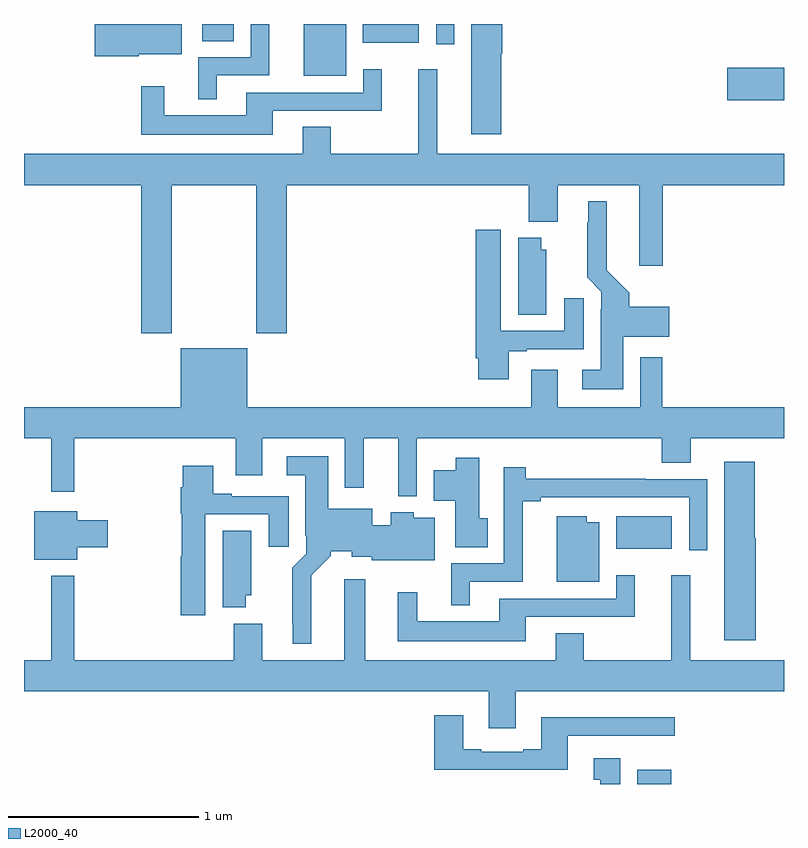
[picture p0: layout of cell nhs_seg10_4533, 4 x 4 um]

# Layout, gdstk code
import gdstk
lib = gdstk.Library(unit=1e-6, precision=1e-09)
def R(c, l, rs):  # rectangles x0, y0, x1, y1
    for r in rs: c.add(gdstk.rectangle(r[:2], r[2:], *l))
def P(c, l, *ps):  # polygons
    for p in ps: c.add(gdstk.Polygon(p, *l))
L2000_40 = (2000, 40)

nhs_seg10_4533 = lib.new_cell('nhs_seg10_4533')
R(nhs_seg10_4533, L2000_40, [(372.227,1294.5,372.406,1294.576), (372.116,1295.738,372.409,1295.908), (372.702,1298.099,373,1298.27), (370.472,1298.228,370.696,1298.5), (371.169,1298.394,371.265,1298.5), (370.784,1298.402,371.077,1298.5), (369.938,1298.41,370.105,1298.5)])
P(nhs_seg10_4533, L2000_40, [(369.603,1298.342),(369.829,1298.342),(369.829,1298.5),(369.372,1298.5),(369.372,1298.33),(369.603,1298.33)],
  [(371.513,1298.343),(371.518,1298.343),(371.518,1298.5),(371.354,1298.5),(371.354,1297.92),(371.513,1297.92)],
  [(370.015,1298.229),(370.292,1298.229),(370.292,1298.5),(370.194,1298.5),(370.194,1298.325),(369.917,1298.325),(369.917,1298.105),(370.015,1298.105)],
  [(370.309,1298.043),(370.883,1298.043),(370.883,1298.263),(370.785,1298.263),(370.785,1298.139),(370.169,1298.139),(370.169,1298.02),(369.739,1298.02),(369.739,1298.173),(369.618,1298.173),(369.618,1297.916),(370.309,1297.916)],
  [(369.777,1297.652),(370.222,1297.652),(370.222,1296.873),(370.382,1296.873),(370.382,1297.652),(371.657,1297.652),(371.657,1297.46),(371.809,1297.46),(371.809,1297.652),(372.239,1297.652),(372.239,1297.227),(372.362,1297.227),(372.362,1297.652),(373,1297.652),(373,1297.816),(371.174,1297.816),(371.174,1298.263),(371.075,1298.263),(371.075,1297.816),(370.614,1297.816),(370.614,1297.958),(370.466,1297.958),(370.466,1297.816),(369,1297.816),(369,1297.652),(369.617,1297.652),(369.617,1296.873),(369.777,1296.873)],
  [(372.154,1296.854),(372.397,1296.854),(372.397,1297.012),(372.185,1297.012),(372.185,1297.086),(372.067,1297.204),(372.067,1297.567),(371.969,1297.567),(371.969,1297.457),(371.965,1297.457),(371.965,1297.166),(372.039,1297.092),(372.039,1296.998),(372.035,1296.998),(372.035,1296.679),(371.937,1296.679),(371.937,1296.578),(372.154,1296.578)],
  [(371.551,1296.777),(371.647,1296.777),(371.647,1296.789),(371.947,1296.789),(371.947,1297.057),(371.843,1297.057),(371.843,1296.885),(371.509,1296.885),(371.509,1297.417),(371.378,1297.417),(371.378,1296.742),(371.39,1296.742),(371.39,1296.63),(371.551,1296.63)],
  [(371.749,1297.311),(371.722,1297.311),(371.722,1297.375),(371.6,1297.375),(371.6,1296.97),(371.749,1296.97)],
  [(371.067,1296.32),(372.356,1296.32),(372.356,1296.19),(372.508,1296.19),(372.508,1296.32),(373,1296.32),(373,1296.484),(372.359,1296.484),(372.359,1296.745),(372.243,1296.745),(372.243,1296.484),(371.809,1296.484),(371.809,1296.679),(371.669,1296.679),(371.669,1296.484),(370.174,1296.484),(370.174,1296.793),(369.824,1296.793),(369.824,1296.484),(369,1296.484),(369,1296.32),(369.143,1296.32),(369.143,1296.039),(369.265,1296.039),(369.265,1296.32),(370.115,1296.32),(370.115,1296.126),(370.255,1296.126),(370.255,1296.32),(370.689,1296.32),(370.689,1296.06),(370.787,1296.06),(370.787,1296.32),(370.97,1296.32),(370.97,1296.014),(371.067,1296.014)],
  [(370.513,1295.6),(370.614,1295.702),(370.614,1295.726),(370.724,1295.726),(370.724,1295.696),(370.83,1295.696),(370.83,1295.678),(371.161,1295.678),(371.161,1295.902),(371.052,1295.902),(371.052,1295.929),(370.931,1295.929),(370.931,1295.862),(370.834,1295.862),(370.834,1295.95),(370.6,1295.95),(370.6,1296.226),(370.383,1296.226),(370.383,1296.125),(370.481,1296.125),(370.481,1295.806),(370.485,1295.806),(370.485,1295.712),(370.411,1295.638),(370.411,1295.347),(370.415,1295.347),(370.415,1295.237),(370.513,1295.237)],
  [(371.441,1295.898),(371.395,1295.898),(371.395,1296.217),(371.273,1296.217),(371.273,1296.151),(371.156,1296.151),(371.156,1295.99),(371.27,1295.99),(371.27,1295.746),(371.441,1295.746)],
  [(372.85,1295.793),(372.845,1295.793),(372.845,1296.196),(372.686,1296.196),(372.686,1295.256),(372.85,1295.256)],
  [(369.955,1295.919),(370.289,1295.919),(370.289,1295.748),(370.393,1295.748),(370.393,1296.015),(370.093,1296.015),(370.093,1296.028),(369.997,1296.028),(369.997,1296.175),(369.836,1296.175),(369.836,1296.062),(369.824,1296.062),(369.824,1295.922),(369.829,1295.922),(369.829,1295.7),(369.824,1295.7),(369.824,1295.388),(369.955,1295.388)],
  [(371.347,1295.565),(371.624,1295.565),(371.624,1295.989),(371.719,1295.989),(371.719,1296.009),(372.501,1296.009),(372.501,1295.73),(372.597,1295.73),(372.597,1296.105),(372.272,1296.105),(372.272,1296.107),(371.642,1296.107),(371.642,1296.166),(371.526,1296.166),(371.526,1295.661),(371.249,1295.661),(371.249,1295.441),(371.347,1295.441)],
  [(369.28,1295.747),(369.442,1295.747),(369.442,1295.889),(369.28,1295.889),(369.28,1295.935),(369.053,1295.935),(369.053,1295.681),(369.28,1295.681)],
  [(372.028,1295.878),(371.962,1295.878),(371.962,1295.908),(371.804,1295.908),(371.804,1295.564),(372.028,1295.564)],
  [(370.168,1295.493),(370.195,1295.493),(370.195,1295.834),(370.046,1295.834),(370.046,1295.429),(370.168,1295.429)],
  [(371.641,1295.379),(372.215,1295.379),(372.215,1295.599),(372.117,1295.599),(372.117,1295.475),(371.501,1295.475),(371.501,1295.356),(371.071,1295.356),(371.071,1295.509),(370.967,1295.509),(370.967,1295.252),(371.641,1295.252)],
  [(371.587,1294.988),(373,1294.988),(373,1295.152),(372.506,1295.152),(372.506,1295.599),(372.407,1295.599),(372.407,1295.152),(371.946,1295.152),(371.946,1295.294),(371.798,1295.294),(371.798,1295.152),(370.795,1295.152),(370.795,1295.578),(370.685,1295.578),(370.685,1295.152),(370.255,1295.152),(370.255,1295.344),(370.103,1295.344),(370.103,1295.152),(369.265,1295.152),(369.265,1295.596),(369.143,1295.596),(369.143,1295.152),(369,1295.152),(369,1294.988),(371.447,1294.988),(371.447,1294.794),(371.587,1294.794)],
  [(371.863,1294.755),(372.424,1294.755),(372.424,1294.852),(371.723,1294.852),(371.723,1294.684),(371.627,1294.684),(371.627,1294.671),(371.407,1294.671),(371.407,1294.684),(371.311,1294.684),(371.311,1294.861),(371.159,1294.861),(371.159,1294.574),(371.863,1294.574)],
  [(372.139,1294.636),(371.999,1294.636),(371.999,1294.523),(372.032,1294.523),(372.032,1294.5),(372.139,1294.5)])

lib.write_gds('nhs_seg10_4533.gds')
